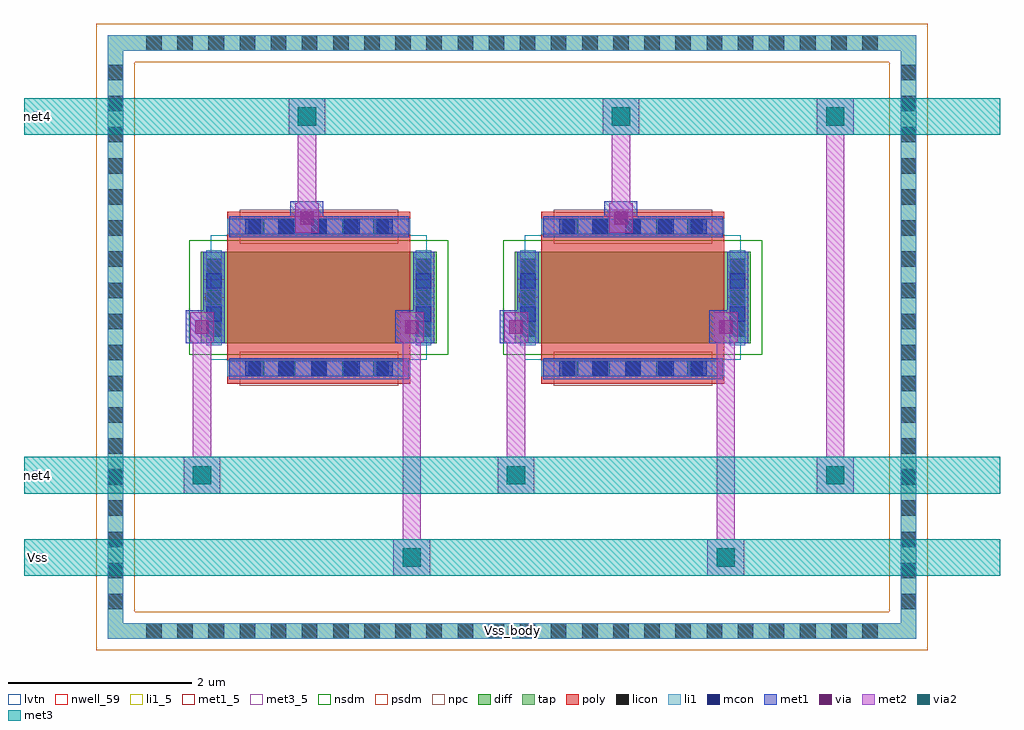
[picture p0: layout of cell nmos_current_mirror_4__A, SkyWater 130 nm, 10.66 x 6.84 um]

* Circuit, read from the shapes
.subckt nmos_current_mirror_4__A Vss Vss_body net4
XM1 Vss net4 net4 Vss_body sky130_fd_pr__nfet_01v8_lvt w=1 l=2 m=2
.ends

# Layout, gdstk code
import gdstk
lib = gdstk.Library(unit=1e-6, precision=1e-09)
def R(c, l, rs):  # rectangles x0, y0, x1, y1
    for r in rs: c.add(gdstk.rectangle(r[:2], r[2:], *l))
def A(c, l, x, y, w, h, nx, ny, dx, dy):  # array of equal rectangles
    R(c, l, [(x+i*dx, y+j*dy, x+i*dx+w, y+j*dy+h) for i in range(nx) for j in range(ny)])
nwell_59 = (64, 59)
diff = (65, 20)
tap = (65, 44)
poly = (66, 20)
licon = (66, 44)
li1_5 = (67, 5)
li1 = (67, 20)
mcon = (67, 44)
met1_5 = (68, 5)
met1 = (68, 20)
via = (68, 44)
met2 = (69, 20)
via2 = (69, 44)
met3_5 = (70, 5)
met3 = (70, 20)
nsdm = (93, 44)
psdm = (94, 20)
npc = (95, 20)
lvtn = (125, 44)

sky130_fd_pr__nfet_01v8_ = lib.new_cell('sky130_fd_pr__nfet_01v8_lvt_SLTJA6')
R(sky130_fd_pr__nfet_01v8_, diff, [(-1.29,-0.5,1.29,0.5)])
R(sky130_fd_pr__nfet_01v8_, poly, [(-1,-0.94,1,0.94)])
A(sky130_fd_pr__nfet_01v8_, licon, -0.765, -0.86, 0.17, 0.17, 5, 2, 0.34, 1.55)
A(sky130_fd_pr__nfet_01v8_, licon, -1.23, -0.425, 0.17, 0.17, 1, 3, 0, 0.34)
A(sky130_fd_pr__nfet_01v8_, licon, 1.06, -0.425, 0.17, 0.17, 1, 3, 0, 0.34)
R(sky130_fd_pr__nfet_01v8_, li1, [(-1,-0.86,1,-0.69), (-1.23,-0.52,-1.06,0.52), (1.06,-0.52,1.23,0.52), (-1,0.69,1,0.86)])
A(sky130_fd_pr__nfet_01v8_, mcon, -0.805, -0.86, 0.17, 0.17, 5, 2, 0.36, 1.55)
R(sky130_fd_pr__nfet_01v8_, mcon, [(-1.23,-0.265,-1.06,-0.095), (1.06,-0.265,1.23,-0.095), (-1.23,0.095,-1.06,0.265), (1.06,0.095,1.23,0.265)])
R(sky130_fd_pr__nfet_01v8_, met1, [(-0.98,-0.89,0.98,-0.66), (-1.26,-0.5,-1.03,0.5), (1.03,-0.5,1.26,0.5), (-0.98,0.66,0.98,0.89)])
R(sky130_fd_pr__nfet_01v8_, nsdm, [(-1.415,-0.625,1.415,0.625)])
R(sky130_fd_pr__nfet_01v8_, npc, [(-0.865,-0.96,0.865,-0.59), (-0.865,0.59,0.865,0.96)])
R(sky130_fd_pr__nfet_01v8_, lvtn, [(-1.18,-0.68,1.18,0.68)])
sky130_fd_pr__nfet_01v8_.add(gdstk.Label('D', (-1.145,0), layer=67, texttype=5))
sky130_fd_pr__nfet_01v8_.add(gdstk.Label('S', (1.145,0), layer=67, texttype=5))
sky130_fd_pr__nfet_01v8_.add(gdstk.Label('G', (0,0.775), layer=67, texttype=5))

nfet_01v8_lvt_w1_l2_m2__ = lib.new_cell('nfet_01v8_lvt_W1_L2_m2__nf1_gboth_sdfull_ng')
R(nfet_01v8_lvt_w1_l2_m2__, nwell_59, [(0.05,0.89,0.15,0.99)])
R(nfet_01v8_lvt_w1_l2_m2__, met1_5, [(0.03,0.94,0.26,1.14), (2.32,0.94,2.55,1.14), (0.31,1.6,2.27,1.83)])
R(nfet_01v8_lvt_w1_l2_m2__, met1, [(0.03,0.94,0.26,1.14), (2.32,0.94,2.55,1.14), (0.31,1.6,2.27,1.83)])
nfet_01v8_lvt_w1_l2_m2__.add(gdstk.Reference(sky130_fd_pr__nfet_01v8_, (1.29,0.94)))
nfet_01v8_lvt_w1_l2_m2__.add(gdstk.Label('D', (0.145,1.04), layer=68, texttype=5))
nfet_01v8_lvt_w1_l2_m2__.add(gdstk.Label('S', (2.435,1.04), layer=68, texttype=5))
nfet_01v8_lvt_w1_l2_m2__.add(gdstk.Label('G', (1.29,1.715), layer=68, texttype=5))
nfet_01v8_lvt_w1_l2_m2__.add(gdstk.Label('B', (0.1,0.94), layer=64, texttype=59))

nmos_current_mirror_4__a = lib.new_cell('nmos_current_mirror_4__A')
R(nmos_current_mirror_4__a, tap, [(-0.885,-2.785,7.945,-2.615), (-0.885,-2.615,-0.715,3.635), (7.775,-2.615,7.945,3.635), (-0.885,3.635,7.945,3.805)])
A(nmos_current_mirror_4__a, licon, -0.465, -2.785, 0.17, 0.17, 24, 2, 0.34, 6.42)
A(nmos_current_mirror_4__a, licon, -0.885, -2.465, 0.17, 0.17, 1, 18, 0, 0.34)
A(nmos_current_mirror_4__a, licon, 7.775, -2.465, 0.17, 0.17, 1, 18, 0, 0.34)
R(nmos_current_mirror_4__a, li1_5, [(3.48,-2.75,3.58,-2.65)])
R(nmos_current_mirror_4__a, li1, [(-0.885,-2.785,7.945,-2.615), (-0.885,-2.615,-0.715,3.635), (7.775,-2.615,7.945,3.635), (-0.885,3.635,7.945,3.805)])
R(nmos_current_mirror_4__a, met1, [(-0.035,0.44,0.325,0.8), (2.255,0.44,2.615,0.8), (3.395,0.44,3.755,0.8), (5.685,0.44,6.045,0.8), (1.11,1.63,1.47,1.99), (4.54,1.63,4.9,1.99)])
R(nmos_current_mirror_4__a, via, [(0.07,0.545,0.22,0.695), (2.36,0.545,2.51,0.695), (3.5,0.545,3.65,0.695), (5.79,0.545,5.94,0.695), (1.215,1.735,1.365,1.885), (4.645,1.735,4.795,1.885)])
R(nmos_current_mirror_4__a, met2, [(2.235,-2.1,2.635,-1.7), (5.665,-2.1,6.065,-1.7), (2.335,-1.7,2.535,0.46), (5.765,-1.7,5.965,0.46), (-0.055,-1.2,0.345,-0.8), (3.375,-1.2,3.775,-0.8), (6.86,-1.2,7.26,-0.8), (0.045,-0.8,0.245,0.46), (3.475,-0.8,3.675,0.46), (6.96,-0.8,7.16,2.72), (0.015,0.46,0.275,0.78), (2.305,0.46,2.565,0.78), (3.445,0.46,3.705,0.78), (5.735,0.46,5.995,0.78), (1.16,1.65,1.42,1.97), (4.59,1.65,4.85,1.97), (1.19,1.97,1.39,2.72), (4.62,1.97,4.82,2.72), (1.09,2.72,1.49,3.12), (4.52,2.72,4.92,3.12), (6.86,2.72,7.26,3.12)])
R(nmos_current_mirror_4__a, via2, [(2.335,-2,2.535,-1.8), (5.765,-2,5.965,-1.8), (0.045,-1.1,0.245,-0.9), (3.475,-1.1,3.675,-0.9), (6.96,-1.1,7.16,-0.9), (1.19,2.82,1.39,3.02), (4.62,2.82,4.82,3.02), (6.96,2.82,7.16,3.02)])
R(nmos_current_mirror_4__a, met3_5, [(-1.7,-1.95,-1.6,-1.85), (-1.7,-1.05,-1.6,-0.95), (-1.7,2.87,-1.6,2.97)])
R(nmos_current_mirror_4__a, met3, [(-1.8,-2.1,8.86,-1.7), (-1.8,-1.2,8.86,-0.8), (-1.8,2.72,8.86,3.12)])
R(nmos_current_mirror_4__a, psdm, [(-1.01,-2.91,8.07,-2.49), (-1.01,-2.49,-0.59,3.51), (7.65,-2.49,8.07,3.51), (-1.01,3.51,8.07,3.93)])
nmos_current_mirror_4__a.add(gdstk.Reference(nfet_01v8_lvt_w1_l2_m2__, (3.56,0)))
nmos_current_mirror_4__a.add(gdstk.Reference(nfet_01v8_lvt_w1_l2_m2__, (0.13,0)))
nmos_current_mirror_4__a.add(gdstk.Label('net4', (-1.65,2.92), layer=70, texttype=5))
nmos_current_mirror_4__a.add(gdstk.Label('net4', (-1.65,-1), layer=70, texttype=5))
nmos_current_mirror_4__a.add(gdstk.Label('Vss', (-1.65,-1.9), layer=70, texttype=5))
nmos_current_mirror_4__a.add(gdstk.Label('Vss_body', (3.53,-2.7), layer=67, texttype=5))

lib.write_gds('nmos_current_mirror_4__A.gds')
